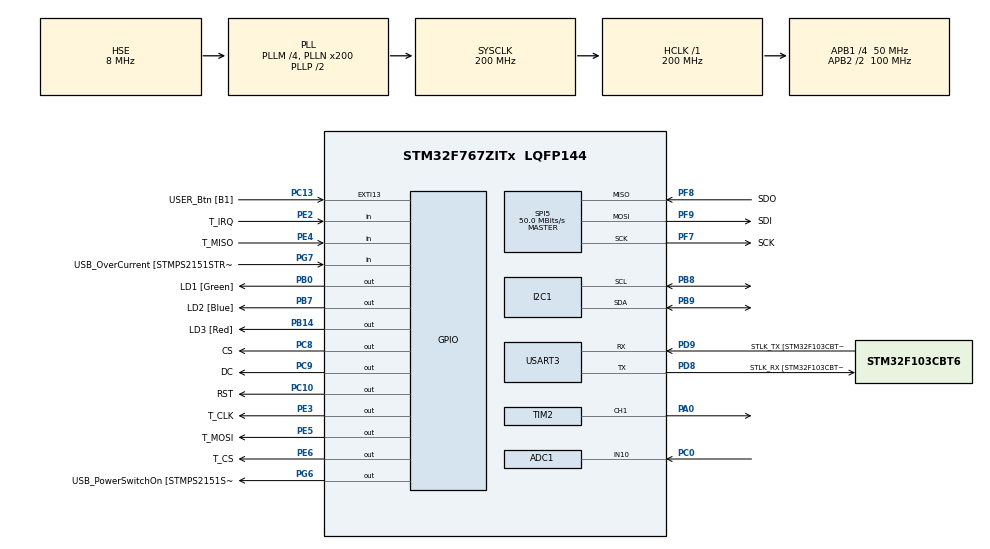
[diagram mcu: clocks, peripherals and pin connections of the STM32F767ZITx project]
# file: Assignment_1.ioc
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ADC1.Channel-0\#ChannelRegularConversion=ADC_CHANNEL_10
ADC1.ContinuousConvMode=ENABLE
ADC1.EOCSelection=ADC_EOC_SEQ_CONV
ADC1.NbrOfConversionFlag=1
ADC1.Rank-0\#ChannelRegularConversion=1
ADC1.SamplingTime-0\#ChannelRegularConversion=ADC_SAMPLETIME_3CYCLES
ADC1.master=1
CORTEX_M7.ART_ACCLERATOR_ENABLE=1
CORTEX_M7.CPU_DCache=Enabled
CORTEX_M7.CPU_ICache=Enabled
CORTEX_M7.PREFETCH_ENABLE=1
I2C1.Timing=0x00C0EAFF
Mcu.Family=STM32F7
Mcu.Name=STM32F767ZITx
Mcu.Package=LQFP144
NVIC.EXTI15_10_IRQn=true\:1\:0\:true\:false\:true\:true\:true
NVIC.PriorityGroup=NVIC_PRIORITYGROUP_2
NVIC.TIM1_UP_TIM10_IRQn=true\:1\:0\:true\:false\:true\:true\:true
PA0/WKUP.Signal=S_TIM2_CH1_ETR
PA1.GPIO_Label=RMII_REF_CLK [LAN8742A-CZ-TR_REFCLK0]
PA1.Signal=ETH_REF_CLK
PA10.GPIO_Label=USB_ID
PA10.Signal=USB_OTG_FS_ID
PA11.GPIO_Label=USB_DM
PA11.Signal=USB_OTG_FS_DM
PA12.GPIO_Label=USB_DP
PA12.Signal=USB_OTG_FS_DP
PA13.GPIO_Label=TMS
PA13.Mode=Serial_Wire
PA13.Signal=SYS_JTMS-SWDIO
PA14.GPIO_Label=TCK
PA14.Mode=Serial_Wire
PA14.Signal=SYS_JTCK-SWCLK
PA2.GPIO_Label=RMII_MDIO [LAN8742A-CZ-TR_MDIO]
PA2.Signal=ETH_MDIO
PA7.GPIO_Label=RMII_CRS_DV [LAN8742A-CZ-TR_CRS_DV]
PA7.Signal=ETH_CRS_DV
PA8.GPIO_Label=USB_SOF [TP1]
PA8.Signal=USB_OTG_FS_SOF
PA9.GPIO_Label=USB_VBUS
PA9.Signal=USB_OTG_FS_VBUS
PB0.GPIO_Label=LD1 [Green]
PB0.Signal=GPIO_Output
PB13.GPIO_Label=RMII_TXD1 [LAN8742A-CZ-TR_TXD1]
PB13.Signal=ETH_TXD1
PB14.GPIO_Label=LD3 [Red]
PB14.Signal=GPIO_Output
PB3.GPIO_Label=SWO
PB3.Signal=SYS_JTDO-SWO
PB7.GPIO_Label=LD2 [Blue]
PB7.Signal=GPIO_Output
PB8.Mode=I2C
PB8.Signal=I2C1_SCL
PB9.Mode=I2C
PB9.Signal=I2C1_SDA
PC0.Signal=ADCx_IN10
PC1.GPIO_Label=RMII_MDC [LAN8742A-CZ-TR_MDC]
PC1.Signal=ETH_MDC
PC10.GPIO_Label=RST
PC10.Signal=GPIO_Output
PC13.GPIO_Label=USER_Btn [B1]
PC13.Signal=GPXTI13
PC14/OSC32_IN.Mode=LSE-External-Oscillator
PC14/OSC32_IN.Signal=RCC_OSC32_IN
PC15/OSC32_OUT.Mode=LSE-External-Oscillator
PC15/OSC32_OUT.Signal=RCC_OSC32_OUT
PC4.GPIO_Label=RMII_RXD0 [LAN8742A-CZ-TR_RXD0]
PC4.Signal=ETH_RXD0
PC5.GPIO_Label=RMII_RXD1 [LAN8742A-CZ-TR_RXD1]
PC5.Signal=ETH_RXD1
PC8.GPIO_Label=CS
PC8.Signal=GPIO_Output
PC9.GPIO_Label=DC
PC9.Signal=GPIO_Output
PD8.GPIO_Label=STLK_RX [STM32F103CBT6_PA3]
PD8.Mode=Asynchronous
PD8.Signal=USART3_TX
PD9.GPIO_Label=STLK_TX [STM32F103CBT6_PA2]
PD9.Mode=Asynchronous
PD9.Signal=USART3_RX
PE2.GPIO_Label=T_IRQ
PE2.Signal=GPIO_Input
PE3.GPIO_Label=T_CLK
PE3.Signal=GPIO_Output
PE4.GPIO_Label=T_MISO
PE4.Signal=GPIO_Input
PE5.GPIO_Label=T_MOSI
PE5.Signal=GPIO_Output
PE6.GPIO_Label=T_CS
PE6.Signal=GPIO_Output
PF7.GPIO_Label=SCK
PF7.Mode=Full_Duplex_Master
PF7.Signal=SPI5_SCK
PF8.GPIO_Label=SDO
PF8.Mode=Full_Duplex_Master
PF8.Signal=SPI5_MISO
PF9.GPIO_Label=SDI
PF9.Mode=Full_Duplex_Master
PF9.Signal=SPI5_MOSI
PG11.GPIO_Label=RMII_TX_EN [LAN8742A-CZ-TR_TXEN]
PG11.Signal=ETH_TX_EN
PG13.GPIO_Label=RMII_TXD0 [LAN8742A-CZ-TR_TXD0]
PG13.Signal=ETH_TXD0
PG6.GPIO_Label=USB_PowerSwitchOn [STMPS2151STR_EN]
PG6.Signal=GPIO_Output
PG7.GPIO_Label=USB_OverCurrent [STMPS2151STR_FAULT]
PG7.Signal=GPIO_Input
PH0/OSC_IN.GPIO_Label=MCO [STM32F103CBT6_PA8]
PH0/OSC_IN.Mode=HSE-External-Clock-Source
PH0/OSC_IN.Signal=RCC_OSC_IN
PH1/OSC_OUT.Mode=HSE-External-Clock-Source
PH1/OSC_OUT.Signal=RCC_OSC_OUT
ProjectManager.HeapSize=0x200
ProjectManager.StackSize=0x400
ProjectManager.TargetToolchain=MDK-ARM V5
RCC.48MHZClocksFreq_Value=24000000
RCC.AHBFreq_Value=200000000
RCC.APB1CLKDivider=RCC_HCLK_DIV4
RCC.APB1Freq_Value=50000000
RCC.APB1TimFreq_Value=100000000
RCC.APB2CLKDivider=RCC_HCLK_DIV2
RCC.APB2Freq_Value=100000000
RCC.APB2TimFreq_Value=200000000
RCC.CortexFreq_Value=200000000
RCC.HCLKFreq_Value=200000000
RCC.HSE_VALUE=8000000
RCC.HSI_VALUE=16000000
RCC.PLLM=4
RCC.PLLMUL=RCC_PLL_MUL9
RCC.PLLN=200
RCC.PLLQ=9
RCC.PLLSourceVirtual=RCC_PLLSOURCE_HSE
RCC.PRESCALERUSB=RCC_USBCLKSOURCE_PLL_DIV1_5
RCC.SYSCLKFreq_VALUE=200000000
RCC.SYSCLKSource=RCC_SYSCLKSOURCE_PLLCLK
RCC.SYSCLKSourceVirtual=RCC_SYSCLKSOURCE_PLLCLK
RCC.USBFreq_Value=44444444.44444445
RCC.VCOOutputFreq_Value=400000000
SH.ADCx_IN10.0=ADC1_IN10,IN10
SH.S_TIM2_CH1_ETR.0=TIM2_CH1,PWM Generation1 CH1
SPI5.CalculateBaudRate=50.0 MBits/s
SPI5.DataSize=SPI_DATASIZE_8BIT
SPI5.Direction=SPI_DIRECTION_2LINES
SPI5.Mode=SPI_MODE_MASTER
SPI5.NSSPMode=SPI_NSS_PULSE_DISABLE
SPI5.VirtualType=VM_MASTER
TIM1.ClockDivision=TIM_CLOCKDIVISION_DIV1
TIM1.Period=1000-1
TIM1.Prescaler=200-1
TIM2.Channel-PWM\ Generation1\ CH1=TIM_CHANNEL_1
USART3.VirtualMode-Asynchronous=VM_ASYNC
VP_RNG_VS_RNG.Mode=RNG_Activate
VP_TIM1_VS_ClockSourceINT.Mode=Internal
VP_TIM2_VS_ClockSourceINT.Mode=Internal
board=NUCLEO-F767ZI

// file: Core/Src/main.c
/* USER CODE BEGIN Header */
/**
  ******************************************************************************
  * @file           : main.c
  * @brief          : Main program body
  ******************************************************************************
  * @attention
  *
  * <h2><center>&copy; Copyright (c) 2021 STMicroelectronics.
  * All rights reserved.</center></h2>
  *
  * This software component is licensed by ST under BSD 3-Clause license,
  * the "License"; You may not use this file except in compliance with the
  * License. You may obtain a copy of the License at:
  *                        opensource.org/licenses/BSD-3-Clause
  *
  ******************************************************************************
  */
/* USER CODE END Header */
#include "main.h"
#include "adc.h"
#include "i2c.h"
#include "rng.h"
#include "spi.h"
#include "tim.h"
#include "usart.h"
#include "gpio.h"

/* USER CODE BEGIN Includes */
#include "ILI9341_Touchscreen.h"

#include "ILI9341_STM32_Driver.h"
#include "ILI9341_GFX.h"

#include <stdio.h>
#include <string.h>

#include "EEPROM.h"

/* USER CODE END Includes */

/* USER CODE BEGIN PV */
float h=0.0, t=0.0;
uint8_t step = 0;
HAL_StatusTypeDef status;
int timerForUART = 0;

volatile uint32_t adc_val = 0; // Light Sensor

char str[50];
uint8_t cmdBuffer[3];
uint8_t dataBuffer[8];

int record = 0;
int topLightBuffer = 0;
int topTempBuffer = 0;
int topHumidBuffer = 0;
int lightBuffer[20];
float tempBuffer[20];
float humidBuffer[20];
int lightValue = 0;

DisplayInfo lcdInfo; // DisplayInfo details can be found at main.h
Timer timer; // Timer details can be found at main.h

/* USER CODE END PV */

void SystemClock_Config(void);
/* USER CODE BEGIN PFP */
int LCDDisplay(DisplayInfo* info, Timer* timer);
void timerController(DisplayInfo* info,Timer* timer);

void adcLightSensor(uint32_t);
void i2cAM2320Sensor(void );
void printRecord(void );

uint16_t CRC16_2(uint8_t *ptr, uint8_t length)
{
	uint16_t crc = 0xffff;
	uint8_t s = 0x00;

	while (length--) {
		crc ^= *ptr++;
		for (s = 0; s < 8; s++) {
			if ((crc & 0x01) != 0) {
				crc >>= 1;
				crc ^= 0xa001;
			} else crc >>= 1;
		}
	}
	return crc;
}

/* USER CODE END PFP */

/* USER CODE BEGIN 0 */

void init_eeprom()
{
	for (int i = 0; i < 512; i++) {
		EEPROM_PageErase(i);
	}
}

void write_to_eeprom(uint8_t light, uint8_t temp, uint8_t humid)
{
	// delete data in eeprom
	for (int i = 0; i < 0; i++) {
		EEPROM_PageErase(i);
	}

	// write data to eeprom
	uint8_t tmp[] = {light, temp, humid};
	EEPROM_Write(0, 0, tmp, 3);
}

void read_from_eeprom(uint8_t dataLoad[])
{
	EEPROM_Read(0,0, dataLoad, 3);
}

/* USER CODE END 0 */

int main(void)
{

  /* Enable I-Cache---------------------------------------------------------*/
  SCB_EnableICache();

  /* Enable D-Cache---------------------------------------------------------*/
  SCB_EnableDCache();

  /* MCU Configuration--------------------------------------------------------*/

  /* Reset of all peripherals, Initializes the Flash interface and the Systick. */
  HAL_Init();

  /* Configure the system clock */
  SystemClock_Config();

  /* Initialize all configured peripherals */
  MX_GPIO_Init();
  MX_RNG_Init();
  MX_SPI5_Init();
  MX_TIM1_Init();
  MX_USART3_UART_Init();
  MX_ADC1_Init();
  MX_I2C1_Init();
  MX_TIM2_Init();
  /* USER CODE BEGIN 2 */
	ILI9341_Init();

	ILI9341_Fill_Screen(BLACK);
	ILI9341_Set_Rotation(SCREEN_HORIZONTAL_1);

	lcdInfo.temperature = 0;
	lcdInfo.humidity = 0;
	lcdInfo.light = 99;
	lcdInfo.page = 0;
	lcdInfo.updateScreen = 1;

	lcdInfo.timeHr = 0;
	lcdInfo.timeMin = 0;
	lcdInfo.timeSec = 0;

	uint8_t eepromData[3];
	read_from_eeprom(eepromData);
	lcdInfo.avgLight = eepromData[0];
	lcdInfo.avgTemp = eepromData[1];
	lcdInfo.avgHumid = eepromData[2];
	lcdInfo.updateAvg = 0;
	lcdInfo.avgHighlightTimer = 0;

	timer.isActive = 0;
	timer.timeLeftSec = 0;
	timer.tick = 0;
	timer.timerDone = 0;

	HAL_ADC_Start(&hadc1);
	HAL_TIM_Base_Start_IT(&htim1);

	sprintf(str, "\n\rAM2320 I2C DEMO Starting . . .\n\r");
	HAL_UART_Transmit(&huart3, (uint8_t*)&str, strlen(str), 1000);

	cmdBuffer[0] = 0x03;
	cmdBuffer[1] = 0x00;
	cmdBuffer[2] = 0x04;

  /* USER CODE END 2 */

  /* Infinite loop */
  while (1)
  {

    /* USER CODE BEGIN 3 */

		printRecord();
		timerController(&lcdInfo,&timer);

		LCDDisplay(&lcdInfo,&timer);

		/*
		if(TP_Touchpad_Pressed()){
			uint16_t x_pos = 0;
			uint16_t y_pos = 0;

			uint16_t position_array[2];

			if(TP_Read_Coordinates(position_array) == TOUCHPAD_DATA_OK){
				x_pos = position_array[0];
				y_pos = position_array[1];

				char coord[20];
				sprintf(coord,"%.3d %.3d %.5d",x_pos,y_pos,lcdInfo.avgHighlightTimer);
				ILI9341_Draw_Text(coord, 20, 230, WHITE, 1, BLACK);
			}
		}
		*/

  }
  /* USER CODE END 3 */
}

void SystemClock_Config(void)
{
  RCC_OscInitTypeDef RCC_OscInitStruct = {0};
  RCC_ClkInitTypeDef RCC_ClkInitStruct = {0};
  RCC_PeriphCLKInitTypeDef PeriphClkInitStruct = {0};

  /** Configure LSE Drive Capability
  */
  HAL_PWR_EnableBkUpAccess();
  /** Configure the main internal regulator output voltage
  */
  __HAL_RCC_PWR_CLK_ENABLE();
  __HAL_PWR_VOLTAGESCALING_CONFIG(PWR_REGULATOR_VOLTAGE_SCALE1);
  /** Initializes the RCC Oscillators according to the specified parameters
  * in the RCC_OscInitTypeDef structure.
  */
  RCC_OscInitStruct.OscillatorType = RCC_OSCILLATORTYPE_HSE;
  RCC_OscInitStruct.HSEState = RCC_HSE_BYPASS;
  RCC_OscInitStruct.PLL.PLLState = RCC_PLL_ON;
  RCC_OscInitStruct.PLL.PLLSource = RCC_PLLSOURCE_HSE;
  RCC_OscInitStruct.PLL.PLLM = 4;
  RCC_OscInitStruct.PLL.PLLN = 200;
  RCC_OscInitStruct.PLL.PLLP = RCC_PLLP_DIV2;
  RCC_OscInitStruct.PLL.PLLQ = 9;
  if (HAL_RCC_OscConfig(&RCC_OscInitStruct) != HAL_OK)
  {
    Error_Handler();
  }
  /** Activate the Over-Drive mode
  */
  if (HAL_PWREx_EnableOverDrive() != HAL_OK)
  {
    Error_Handler();
  }
  /** Initializes the CPU, AHB and APB buses clocks
  */
  RCC_ClkInitStruct.ClockType = RCC_CLOCKTYPE_HCLK|RCC_CLOCKTYPE_SYSCLK
                              |RCC_CLOCKTYPE_PCLK1|RCC_CLOCKTYPE_PCLK2;
  RCC_ClkInitStruct.SYSCLKSource = RCC_SYSCLKSOURCE_PLLCLK;
  RCC_ClkInitStruct.AHBCLKDivider = RCC_SYSCLK_DIV1;
  RCC_ClkInitStruct.APB1CLKDivider = RCC_HCLK_DIV4;
  RCC_ClkInitStruct.APB2CLKDivider = RCC_HCLK_DIV2;

  if (HAL_RCC_ClockConfig(&RCC_ClkInitStruct, FLASH_LATENCY_6) != HAL_OK)
  {
    Error_Handler();
  }
  PeriphClkInitStruct.PeriphClockSelection = RCC_PERIPHCLK_USART3|RCC_PERIPHCLK_I2C1
                              |RCC_PERIPHCLK_CLK48;
  PeriphClkInitStruct.Usart3ClockSelection = RCC_USART3CLKSOURCE_PCLK1;
  PeriphClkInitStruct.I2c1ClockSelection = RCC_I2C1CLKSOURCE_PCLK1;
  PeriphClkInitStruct.Clk48ClockSelection = RCC_CLK48SOURCE_PLL;
  if (HAL_RCCEx_PeriphCLKConfig(&PeriphClkInitStruct) != HAL_OK)
  {
    Error_Handler();
  }
}

/* USER CODE BEGIN 4 */

void changeToPage(DisplayInfo* info, int pageNo){
	info -> page = pageNo;
	ILI9341_Fill_Screen(BLACK);
	info -> updateScreen = 1;
	HAL_Delay(100);
}

void mainPage(DisplayInfo* info, Timer* timer){

	uint8_t currTemp = (uint8_t) t;
	uint8_t currHumid = (uint8_t) h;
	uint8_t currLight = (uint8_t) lightValue;

	if(info -> updateScreen || info -> temperature != currTemp){
		info -> temperature = currTemp;
		char temperatureStr[10];
		if(info -> temperature < 10) sprintf(temperatureStr," %d", info -> temperature);
		else sprintf(temperatureStr,"%d", info -> temperature);

		ILI9341_Draw_Text("TEMP", 70, 60, WHITE, 1, BLACK);
		ILI9341_Draw_Text(temperatureStr, 115, 65, WHITE, 7, BLACK);
		ILI9341_Draw_Text("C", 210, 85, WHITE, 3, BLACK);
	}

	if(info -> updateScreen || info -> humidity != currHumid){
		info -> humidity = currHumid;
		char humidityStr[10];
		ILI9341_Draw_Text("HUMID", 70, 145, WHITE, 1, BLACK);
		sprintf(humidityStr,"%d%%",info -> humidity);
		ILI9341_Draw_Text(humidityStr, 70, 155, WHITE, 4, BLACK);
	}

	if(info -> updateScreen || info -> light != currLight){
		info -> light = currLight;
		char lightStr[10];
		ILI9341_Draw_Text("LIGHT", 190, 145, WHITE, 1, BLACK);
		if(info -> light < 10) sprintf(lightStr," %d%%",info -> light);
		else sprintf(lightStr,"%d%%",info -> light);
		ILI9341_Draw_Text(lightStr, 190, 155, WHITE, 4, BLACK);
	}
	uint8_t currentTimerStatus = timer -> isActive;
	if(timer -> timerDone) currentTimerStatus = 2;
	const uint8_t isTimerStatusChange = currentTimerStatus != info -> timerActive;
	const uint8_t isTimeChange = timer -> timeLeftSec != (info -> timeHr*3600 + info -> timeMin*60 + info->timeSec);

	if(info -> updateScreen || isTimerStatusChange || isTimeChange){
		if(info -> updateScreen) ILI9341_Draw_Text("TIMER", 10, 13, WHITE, 1, BLACK);
		if(timer -> isActive){
			info -> timerActive = timer -> isActive;
			if(isTimerStatusChange || isTimeChange || info -> updateScreen){
				info -> timeHr = (timer -> timeLeftSec) / 3600.0;
				info -> timeMin = ((timer -> timeLeftSec) - (info -> timeHr*3600))/60.0;
				info -> timeSec = (timer -> timeLeftSec) - (info -> timeHr*3600) - (info -> timeMin*60);
				char timerStr[20];
				sprintf(timerStr,"%.2d:%.2d:%.2d",info -> timeHr, info -> timeMin, info -> timeSec);
				ILI9341_Draw_Text(timerStr, 10, 23, WHITE, 2, BLACK);
			}
		}
		else{
			if(isTimerStatusChange && timer -> timerDone){
				info -> timerActive = 2;
				ILI9341_Draw_Text("         ", 10, 23,  WHITE, 2, BLACK);
				ILI9341_Draw_Text(" DONE ", 10, 23,  BLACK, 2, WHITE);
			}
			else if(isTimerStatusChange || info -> updateScreen) ILI9341_Draw_Text("OFF      ", 10, 23,  0x9492, 2, BLACK);
		}
	}

	if(info -> updateScreen){
		ILI9341_Draw_Text("ABOUT", 250, 220, BLACK, 2, WHITE);
	}

	if(info -> updateScreen || info -> updateAvg){
		uint16_t textColor = WHITE;
		uint16_t bgColor = BLACK;
		if(info -> avgHighlightTimer > 0){
			textColor = BLACK;
			bgColor = WHITE;
		}

		char avgTempStr[10];
		sprintf(avgTempStr,"AVG %.2d C",info -> avgTemp);
		ILI9341_Draw_Text(avgTempStr, 70, 120, textColor, 1, bgColor);

		char avgHumidStr[10];
		sprintf(avgHumidStr,"AVG %.3d%%",info -> avgHumid);
		ILI9341_Draw_Text(avgHumidStr, 70, 190, textColor, 1, bgColor);

		char avgLightStr[10];
		sprintf(avgLightStr,"AVG %.3d%%",info -> avgLight);
		ILI9341_Draw_Text(avgLightStr, 190, 190, textColor, 1, bgColor);
		info -> updateAvg = 0;
	}

	if(info -> avgHighlightTimer > 1000){
		info -> avgHighlightTimer = 0;
		info -> updateAvg = 1;
	}

	info -> updateScreen = 0;

	if(TP_Touchpad_Pressed()){
			uint16_t x_pos = 0;
			uint16_t y_pos = 0;

			uint16_t position_array[2];

			if(TP_Read_Coordinates(position_array) == TOUCHPAD_DATA_OK){
				x_pos = position_array[0];
				y_pos = position_array[1];

				if(y_pos >= 1 && y_pos <= 100 && x_pos >= 200 && x_pos <= 233){
					if(info -> timerActive == 2){
						info -> timerActive = 0;
						timer -> timerDone = 0;
					}
					changeToPage(info,1);
				}
				if(y_pos >= 250 && y_pos <= 315 && x_pos >= 5 && x_pos <= 23){
					changeToPage(info,2);
			}
		}
	}

	return;
}

void timerPage(DisplayInfo* info, Timer* timer){

	if(timer -> isActive && timer -> timeLeftSec != (info -> timeHr*3600 + info -> timeMin*60 + info->timeSec)){
		info -> timeHr = (timer -> timeLeftSec) / 3600.0;
		info -> timeMin = ((timer -> timeLeftSec) - (info -> timeHr*3600.0))/60.0;
		info -> timeSec = (timer -> timeLeftSec) - (info -> timeHr*3600.0) - (info -> timeMin*60.0);

		info -> updateScreen = 1;
	}

	if(timer -> timerDone){
		timer -> timerDone = 0;
		info -> timerActive = 0;
	}

	if(info -> updateScreen){
			char strHo[10],strM[10],strS[10];
			uint16_t m = 0,ho = 0 ,s = 0;
			ho = info -> timeHr;
			m = info -> timeMin;
			s = info -> timeSec;

			sprintf(strHo ,"%02d:",ho);
			sprintf(strM ,"%02d:",m);
			sprintf(strS ,"%02d",s);
			ILI9341_Draw_Text(strHo, 45, 50, WHITE, 6, BLACK);
			ILI9341_Draw_Text(strM, 130, 50, WHITE, 6, BLACK);
			ILI9341_Draw_Text(strS, 215, 50, WHITE, 6, BLACK);
			ILI9341_Draw_Filled_Rectangle_Coord(45, 100, 110, 135, BLUE);
			ILI9341_Draw_Filled_Rectangle_Coord(130, 100, 195, 135, BLUE);
			ILI9341_Draw_Filled_Rectangle_Coord(215, 100, 275, 135, BLUE);
			ILI9341_Draw_Filled_Circle(155, 180, 30, RED);

			ILI9341_Draw_Text("TIMER", 45,5, WHITE, 2, BLACK);
			ILI9341_Draw_Text("<<", 10,5, WHITE, 2, BLACK);

			info -> updateScreen = 0;
	}

	if(TP_Touchpad_Pressed()){
			info -> updateScreen = 1;
			uint16_t x_pos = 0;
			uint16_t y_pos = 0;

      uint16_t position_array[2];

			if(TP_Read_Coordinates(position_array) == TOUCHPAD_DATA_OK){
					x_pos = position_array[0];
					y_pos = position_array[1];

					if(y_pos > 45 && y_pos < 110 && x_pos > 100 && x_pos < 135) {
						info -> timeHr += 1;
						info -> timeHr %= 99;
					}
					if(y_pos > 130 && y_pos < 195 && x_pos > 100 && x_pos < 135) {
						info -> timeMin += 1;
						info -> timeMin %= 60;
					}
					if(y_pos > 215 && y_pos < 275 && x_pos > 100 && x_pos < 135) {
						info -> timeSec += 10;
						info -> timeSec %= 60;
					}
					if(y_pos > 125 && y_pos < 185 && x_pos > 30 && x_pos < 90) {
						timer -> isActive = 1;
						timer -> timeLeftSec = (info -> timeHr*3600) + (info -> timeMin*60) + (info -> timeSec);
						timer -> timerDone = 0;
					}
					if(y_pos > 0 && y_pos < 30 && x_pos > 220 && x_pos < 244) {
						changeToPage(info,0);
					}
        }
	}
}

void aboutUsPage(DisplayInfo* info){
	if(info -> updateScreen){
		ILI9341_Draw_Text("ABOUT US", 45,5, WHITE, 2, BLACK);
		ILI9341_Draw_Text("<<", 10,5, WHITE, 2, BLACK);

		ILI9341_Draw_Text("CREATED BY", 45, 35, WHITE, 2, BLACK);
		ILI9341_Draw_Text("61010216", 45, 50, WHITE, 2, BLACK);
		ILI9341_Draw_Text("61010279", 45, 65, WHITE, 2, BLACK);
		ILI9341_Draw_Text("61010588", 45, 80, WHITE, 2, BLACK);
		ILI9341_Draw_Text("61010627", 45, 95, WHITE, 2, BLACK);

		info -> updateScreen = 0;
	}
	if(TP_Touchpad_Pressed()){
			info -> updateScreen = 1;
			uint16_t x_pos = 0;
			uint16_t y_pos = 0;

      uint16_t position_array[2];

			if(TP_Read_Coordinates(position_array) == TOUCHPAD_DATA_OK){
					x_pos = position_array[0];
					y_pos = position_array[1];

					if(y_pos > 0 && y_pos < 30 && x_pos > 220 && x_pos < 244) {
						changeToPage(info,0);
					}
        }
		}
}

int LCDDisplay(DisplayInfo* info, Timer* timer){

	switch(info -> page){
		case 0:
			mainPage(info, timer);
			break;
		case 1:
			timerPage(info, timer);
			break;
		case 2:
			aboutUsPage(info);
			break;
	}

	return 1;
}

void timerController(DisplayInfo* info,Timer* timer){
	if(timer -> timerDone){
		// when timer is done
		if(info -> timerActive != 2) info -> updateScreen = 1;
		info -> timeHr = info -> timeMin = info -> timeSec = 0;
	}
}

// UART

void adcLightSensor(uint32_t adc_val){
	while (HAL_ADC_PollForConversion(&hadc1, 100) != HAL_OK) {}
	adc_val = HAL_ADC_GetValue(&hadc1);
	HAL_UART_Transmit(&huart3, (uint8_t*) &"Light  ", 7, 1000);

	char tmp[20];
	sprintf(tmp, "%d", adc_val * 100 / 4096);
	HAL_UART_Transmit(&huart3, (uint8_t*) &tmp, strlen(tmp), 1000);
	HAL_UART_Transmit(&huart3, (uint8_t*) &" %\n\r", 6, 1000);

	lightValue = (int) adc_val * 100 / 4096.0;

	if(topLightBuffer == 19) // Checking Array is full or not.
	{
		for(int i=0;i<19;i++){
			lightBuffer[i] = lightBuffer[i+1];
		}
		lightBuffer[topLightBuffer] = adc_val * 100 / 4096;
	}
	else
	{
		lightBuffer[topLightBuffer] = adc_val * 100 / 4096;
		topLightBuffer += 1; // top = top + 1

	}

}

void i2cAM2320Sensor(){
	sprintf(str, "Temp   %4.1f C\n\r", t);
	while(__HAL_UART_GET_FLAG(&huart3, UART_FLAG_TC)==RESET) {}
	HAL_UART_Transmit(&huart3, (uint8_t*) &str, strlen(str), 200);

	sprintf(str, "Humid  %4.1f ", h);
	while(__HAL_UART_GET_FLAG(&huart3, UART_FLAG_TC)==RESET) {}
	HAL_UART_Transmit(&huart3, (uint8_t*) &str, strlen(str), 200);
	HAL_UART_Transmit(&huart3, (uint8_t*) &"%\n\r\n", 4, 1000);

	HAL_I2C_Master_Transmit(&hi2c1, 0x5c<<1, cmdBuffer, 3, 200);
	HAL_I2C_Master_Transmit(&hi2c1, 0x5c<<1, cmdBuffer, 3, 200);

	HAL_I2C_Master_Receive(&hi2c1, 0x5c<<1, dataBuffer, 8, 200);

	uint16_t Rcrc = dataBuffer[7] << 8;
	Rcrc += dataBuffer[6];
	if (Rcrc == CRC16_2(dataBuffer, 6)) {
		uint16_t temperature = ((dataBuffer[4] & 0x7f) << 8) + dataBuffer[5];
		t = temperature / 10.0;
		t = (((dataBuffer[4] & 0x80) >> 7) == 1) ? (t * (-1)) : t;

		uint16_t humidity = (dataBuffer[2] << 8) + dataBuffer[3];
		h = humidity / 10.0;
	}

	if(topTempBuffer == 19) // Checking Array is full or not.
	{
		for(int i=0;i<19;i++){
			tempBuffer[i] = tempBuffer[i+1];
		}
		tempBuffer[topTempBuffer] = t;
	}
	else
	{
		tempBuffer[topTempBuffer] = t;
		topTempBuffer += 1; // top = top + 1

	}

	if(topHumidBuffer == 19) // Checking Array is full or not.
	{
		for(int i=0;i<19;i++){
			humidBuffer[i] = humidBuffer[i+1];
		}
		humidBuffer[topHumidBuffer] = h;
	}
	else
	{
		humidBuffer[topHumidBuffer] = h;
		topHumidBuffer += 1; // top = top + 1

	}
}

void printRecord(){
	if(timerForUART < 500) return;
	timerForUART = 0;
	record ++;
	sprintf(str, "Record %05d\n\r", record);
	while(__HAL_UART_GET_FLAG(&huart3, UART_FLAG_TC)==RESET) {}
	HAL_UART_Transmit(&huart3, (uint8_t*) &str, strlen(str), 200);

	adcLightSensor(adc_val);

	i2cAM2320Sensor();
}

void HAL_GPIO_EXTI_Callback(uint16_t GPIO_Pin)
{
	if (GPIO_Pin == GPIO_PIN_13)
	{
		HAL_UART_Transmit(&huart3, (uint8_t *) "Average 10 s Period\n\r", 21, 100);
		int light = 0;
		float t = 0.0;
		float h = 0.0;
		for (int i = 0; i < 20; i++)
		{
			light += lightBuffer[i];
			t += tempBuffer[i];
			h += humidBuffer[i];

		}
		light = light/20;
		t = t/20;
		h = h/20;

		HAL_UART_Transmit(&huart3, (uint8_t*) &"Light  ", 7, 1000);
		char tmp[20];
		sprintf(tmp, "%d", light);
		HAL_UART_Transmit(&huart3, (uint8_t*) &tmp, strlen(tmp), 1000);
		HAL_UART_Transmit(&huart3, (uint8_t*) &" %\n\r", 6, 1000);

		sprintf(str, "Temp   %4.1f C\n\r", t);
		while(__HAL_UART_GET_FLAG(&huart3, UART_FLAG_TC)==RESET) {}
		HAL_UART_Transmit(&huart3, (uint8_t*) &str, strlen(str), 200);

		sprintf(str, "Humid  %4.1f ", h);
		while(__HAL_UART_GET_FLAG(&huart3, UART_FLAG_TC)==RESET) {}
		HAL_UART_Transmit(&huart3, (uint8_t*) &str, strlen(str), 200);
		HAL_UART_Transmit(&huart3, (uint8_t*) &"%\n\r\n", 4, 1000);

		// Save the data to EEPROM
		write_to_eeprom(light,t,h);
		lcdInfo.avgTemp = t;
		lcdInfo.avgHumid = h;
		lcdInfo.avgLight = light;
		lcdInfo.updateAvg = 1;
		lcdInfo.avgHighlightTimer = 1;
	}

}

/* USER CODE END 4 */

void Error_Handler(void)
{
  __disable_irq();
  while (1)
  {
  }
}

/************************ (C) COPYRIGHT STMicroelectronics *****END OF FILE****/
